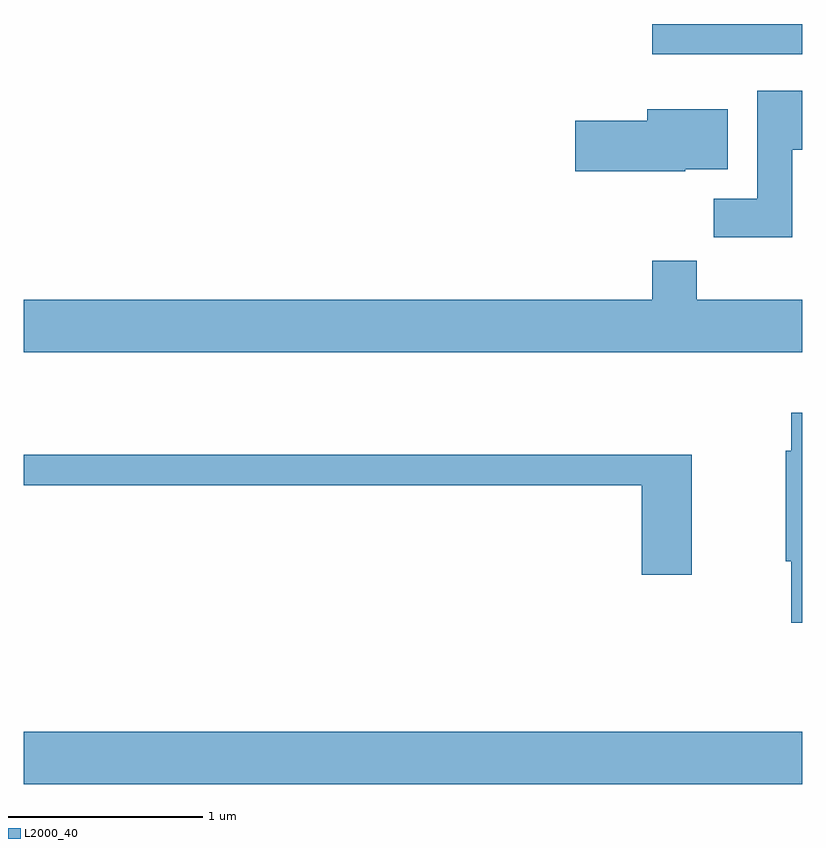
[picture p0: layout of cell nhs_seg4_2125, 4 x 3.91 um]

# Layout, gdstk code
import gdstk
lib = gdstk.Library(unit=1e-6, precision=1e-09)
def R(c, l, rs):  # rectangles x0, y0, x1, y1
    for r in rs: c.add(gdstk.rectangle(r[:2], r[2:], *l))
def P(c, l, *ps):  # polygons
    for p in ps: c.add(gdstk.Polygon(p, *l))
L2000_40 = (2000, 40)

nhs_seg4_2125 = lib.new_cell('nhs_seg4_2125')
R(nhs_seg4_2125, L2000_40, [(247.611,1288.076,251.611,1288.344), (250.841,1291.826,251.611,1291.982)])
P(nhs_seg4_2125, L2000_40, [(251.559,1291.336),(251.611,1291.336),(251.611,1291.639),(251.381,1291.639),(251.381,1291.084),(251.156,1291.084),(251.156,1290.886),(251.559,1290.886)],
  [(251.01,1291.236),(251.229,1291.236),(251.229,1291.544),(250.816,1291.544),(250.816,1291.484),(250.446,1291.484),(250.446,1291.226),(251.01,1291.226)],
  [(251.611,1290.564),(251.069,1290.564),(251.069,1290.764),(250.841,1290.764),(250.841,1290.564),(247.611,1290.564),(247.611,1290.296),(251.611,1290.296)],
  [(251.611,1289.984),(251.556,1289.984),(251.556,1289.789),(251.526,1289.789),(251.526,1289.221),(251.556,1289.221),(251.556,1288.906),(251.611,1288.906)],
  [(251.044,1289.769),(247.611,1289.769),(247.611,1289.611),(250.786,1289.611),(250.786,1289.151),(251.044,1289.151)])

lib.write_gds('nhs_seg4_2125.gds')
